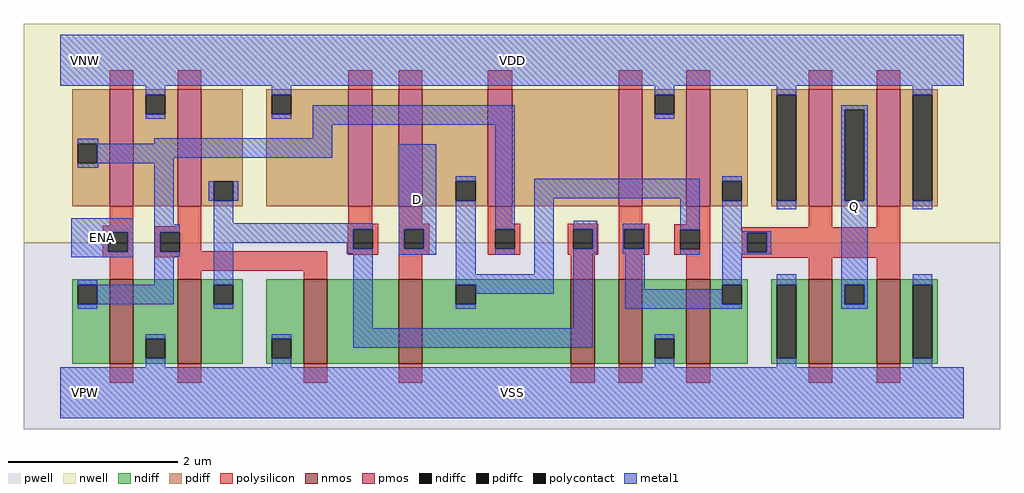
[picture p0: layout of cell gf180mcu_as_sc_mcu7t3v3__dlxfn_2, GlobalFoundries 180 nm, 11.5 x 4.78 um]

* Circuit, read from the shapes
.subckt gf180mcu_as_sc_mcu7t3v3__dlxfn_2 VDD VNW VPW VSS ENA D Q
XM1 VSS ENA n1 VPW nfet_03v3 w=1u l=0.28u
XM2 n2 n1 VSS VPW nfet_03v3 w=1u l=0.28u
XM3 n3 n1 VSS VPW nfet_03v3 w=1u l=0.28u
XM4 n4 D n3 VPW nfet_03v3 w=1u l=0.28u
XM5 n5 n2 n4 VPW nfet_03v3 w=1u l=0.28u
XM6 VSS n6 n5 VPW nfet_03v3 w=1u l=0.28u
XM7 n6 n4 VSS VPW nfet_03v3 w=1u l=0.28u
XM8 Q n6 VSS VPW nfet_03v3 w=1u l=0.28u m=2
XM9 VDD ENA n1 VNW pfet_03v3 w=1.38u l=0.28u
XM10 n2 n1 VDD VNW pfet_03v3 w=1.38u l=0.28u
XM11 n7 n2 VDD VNW pfet_03v3 w=1.38u l=0.285u
XM12 n4 D n7 VNW pfet_03v3 w=1.38u l=0.28u
XM13 n8 n1 n4 VNW pfet_03v3 w=1.38u l=0.285u
XM14 VDD n6 n8 VNW pfet_03v3 w=1.38u l=0.28u
XM15 n6 n4 VDD VNW pfet_03v3 w=1.38u l=0.28u
XM16 Q n6 VDD VNW pfet_03v3 w=1.38u l=0.28u m=2
.ends

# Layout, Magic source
magic
tech gf180mcuD
magscale 1 10
<< nwell >>
rect -86 354 2214 870
<< pwell >>
rect -86 -86 2214 354
<< nmos >>
rect 116 68 172 268
rect 276 68 332 268
rect 573 68 629 268
rect 797 68 853 268
rect 1203 68 1259 268
rect 1315 68 1371 268
rect 1475 68 1531 268
rect 1763 68 1819 268
rect 1923 68 1979 268
<< pmos >>
rect 116 440 172 716
rect 276 440 332 716
rect 678 440 735 716
rect 797 440 853 716
rect 1007 440 1064 716
rect 1315 440 1371 716
rect 1475 440 1531 716
rect 1763 440 1819 716
rect 1923 440 1979 716
<< ndiff >>
rect 28 255 116 268
rect 28 209 41 255
rect 87 209 116 255
rect 28 68 116 209
rect 172 127 276 268
rect 172 81 201 127
rect 247 81 276 127
rect 172 68 276 81
rect 332 255 429 268
rect 332 209 361 255
rect 407 209 429 255
rect 332 68 429 209
rect 485 127 573 268
rect 485 81 498 127
rect 544 81 573 127
rect 485 68 573 81
rect 629 68 797 268
rect 853 255 1203 268
rect 853 209 932 255
rect 978 209 1203 255
rect 853 68 1203 209
rect 1259 68 1315 268
rect 1371 127 1475 268
rect 1371 81 1400 127
rect 1446 81 1475 127
rect 1371 68 1475 81
rect 1531 255 1619 268
rect 1531 209 1560 255
rect 1606 209 1619 255
rect 1531 68 1619 209
rect 1675 255 1763 268
rect 1675 81 1688 255
rect 1734 81 1763 255
rect 1675 68 1763 81
rect 1819 255 1923 268
rect 1819 209 1848 255
rect 1894 209 1923 255
rect 1819 68 1923 209
rect 1979 255 2067 268
rect 1979 81 2008 255
rect 2054 81 2067 255
rect 1979 68 2067 81
<< pdiff >>
rect 28 587 116 716
rect 28 541 41 587
rect 87 541 116 587
rect 28 440 116 541
rect 172 703 276 716
rect 172 657 201 703
rect 247 657 276 703
rect 172 440 276 657
rect 332 499 429 716
rect 332 453 361 499
rect 407 453 429 499
rect 332 440 429 453
rect 485 703 678 716
rect 485 657 498 703
rect 544 657 678 703
rect 485 440 678 657
rect 735 440 797 716
rect 853 499 1007 716
rect 853 453 932 499
rect 978 453 1007 499
rect 853 440 1007 453
rect 1064 440 1315 716
rect 1371 703 1475 716
rect 1371 657 1400 703
rect 1446 657 1475 703
rect 1371 440 1475 657
rect 1531 499 1619 716
rect 1531 453 1560 499
rect 1606 453 1619 499
rect 1531 440 1619 453
rect 1675 703 1763 716
rect 1675 453 1688 703
rect 1734 453 1763 703
rect 1675 440 1763 453
rect 1819 667 1923 716
rect 1819 453 1848 667
rect 1894 453 1923 667
rect 1819 440 1923 453
rect 1979 703 2067 716
rect 1979 453 2008 703
rect 2054 453 2067 703
rect 1979 440 2067 453
<< ndiffc >>
rect 41 209 87 255
rect 201 81 247 127
rect 361 209 407 255
rect 498 81 544 127
rect 932 209 978 255
rect 1400 81 1446 127
rect 1560 209 1606 255
rect 1688 81 1734 255
rect 1848 209 1894 255
rect 2008 81 2054 255
<< pdiffc >>
rect 41 541 87 587
rect 201 657 247 703
rect 361 453 407 499
rect 498 657 544 703
rect 932 453 978 499
rect 1400 657 1446 703
rect 1560 453 1606 499
rect 1688 453 1734 703
rect 1848 453 1894 667
rect 2008 453 2054 703
<< polysilicon >>
rect 116 716 172 760
rect 276 716 332 760
rect 678 716 735 760
rect 797 716 853 760
rect 1007 716 1064 760
rect 1315 716 1371 760
rect 1475 716 1531 760
rect 1763 716 1819 760
rect 1923 716 1979 760
rect 116 394 172 440
rect 100 379 172 394
rect 276 393 332 440
rect 678 398 735 440
rect 797 398 853 440
rect 1007 398 1064 440
rect 1315 398 1371 440
rect 100 333 113 379
rect 159 333 172 379
rect 100 320 172 333
rect 116 268 172 320
rect 222 378 332 393
rect 222 332 235 378
rect 281 334 332 378
rect 677 385 749 398
rect 677 339 690 385
rect 736 339 749 385
rect 281 332 629 334
rect 222 319 629 332
rect 677 326 749 339
rect 797 385 869 398
rect 797 339 810 385
rect 856 339 869 385
rect 797 326 869 339
rect 1007 385 1083 398
rect 1007 339 1024 385
rect 1070 339 1083 385
rect 1007 326 1083 339
rect 1195 385 1267 398
rect 1195 339 1208 385
rect 1254 339 1267 385
rect 1195 326 1267 339
rect 1315 385 1387 398
rect 1475 397 1531 440
rect 1315 339 1328 385
rect 1374 339 1387 385
rect 1315 326 1387 339
rect 1446 384 1531 397
rect 1763 390 1819 440
rect 1923 390 1979 440
rect 1446 338 1460 384
rect 1506 338 1531 384
rect 276 288 629 319
rect 276 268 332 288
rect 573 268 629 288
rect 797 268 853 326
rect 1203 268 1259 326
rect 1315 268 1371 326
rect 1446 325 1531 338
rect 1475 268 1531 325
rect 1605 377 1979 390
rect 1605 331 1618 377
rect 1664 331 1979 377
rect 1605 318 1979 331
rect 1763 268 1819 318
rect 1923 268 1979 318
rect 116 24 172 68
rect 276 24 332 68
rect 573 24 629 68
rect 797 24 853 68
rect 1203 24 1259 68
rect 1315 24 1371 68
rect 1475 24 1531 68
rect 1763 24 1819 68
rect 1923 24 1979 68
<< polycontact >>
rect 113 333 159 379
rect 235 332 281 378
rect 690 339 736 385
rect 810 339 856 385
rect 1024 339 1070 385
rect 1208 339 1254 385
rect 1328 339 1374 385
rect 1460 338 1506 384
rect 1618 331 1664 377
<< metal1 >>
rect 0 724 2128 844
rect 201 703 247 724
rect 201 646 247 657
rect 498 703 544 724
rect 1400 703 1446 724
rect 498 646 544 657
rect 594 632 1070 678
rect 1400 646 1446 657
rect 1688 703 1734 724
rect 594 600 640 632
rect 41 587 89 599
rect 221 587 640 600
rect 87 554 640 587
rect 87 541 267 554
rect 41 530 89 541
rect 25 379 172 412
rect 25 333 113 379
rect 159 333 172 379
rect 25 320 172 333
rect 221 397 267 541
rect 349 453 361 499
rect 407 453 419 499
rect 361 400 407 453
rect 221 378 281 397
rect 221 332 235 378
rect 221 321 281 332
rect 361 385 736 400
rect 361 354 690 385
rect 41 255 87 266
rect 221 255 267 321
rect 87 209 267 255
rect 361 255 407 354
rect 675 339 690 354
rect 675 328 736 339
rect 41 198 87 209
rect 361 198 407 209
rect 690 152 736 328
rect 797 385 886 586
rect 797 339 810 385
rect 856 339 886 385
rect 797 326 886 339
rect 932 499 978 510
rect 932 280 978 453
rect 1024 385 1070 632
rect 1024 326 1070 339
rect 1116 459 1506 505
rect 1116 280 1162 459
rect 1209 398 1265 405
rect 932 255 1162 280
rect 978 234 1162 255
rect 1208 385 1265 398
rect 1254 339 1265 385
rect 1208 329 1265 339
rect 1325 385 1377 398
rect 1325 339 1328 385
rect 1374 339 1377 385
rect 932 198 978 209
rect 1208 152 1254 329
rect 1325 328 1377 339
rect 1331 244 1377 328
rect 1460 384 1506 459
rect 1460 325 1506 338
rect 1560 499 1606 510
rect 1560 381 1606 453
rect 2008 703 2054 724
rect 1688 433 1734 453
rect 1840 667 1902 678
rect 1840 453 1848 667
rect 1894 453 1902 667
rect 1560 377 1675 381
rect 1560 331 1618 377
rect 1664 331 1675 377
rect 1560 327 1675 331
rect 1560 255 1606 327
rect 1331 209 1560 244
rect 1331 198 1606 209
rect 1688 255 1734 279
rect 201 127 247 138
rect 201 60 247 81
rect 498 127 544 138
rect 690 106 1254 152
rect 1400 127 1446 138
rect 498 60 544 81
rect 1400 60 1446 81
rect 1840 255 1902 453
rect 2008 433 2054 453
rect 1840 209 1848 255
rect 1894 209 1902 255
rect 1840 198 1902 209
rect 2008 255 2054 279
rect 1688 60 1734 81
rect 2008 60 2054 81
rect 0 -60 2128 60
<< labels >>
flabel metal1 s 0 724 2128 844 0 FreeSans 400 0 0 0 VDD
port 1 nsew power bidirectional abutment
flabel metal1 s 0 -60 2128 60 0 FreeSans 400 0 0 0 VSS
port 4 nsew ground bidirectional abutment
flabel nwell s 10 734 110 834 0 FreeSans 400 0 0 0 VNW
port 2 nsew power bidirectional
flabel pwell s 10 -50 110 50 0 FreeSans 400 0 0 0 VPW
port 3 nsew ground bidirectional
flabel metal1 25 320 172 412 0 FreeSans 200 0 0 0 ENA
port 5 nsew clock input
flabel metal1 797 326 886 586 0 FreeSans 200 0 0 0 D
port 6 nsew signal input
flabel metal1 1840 198 1902 678 0 FreeSans 200 0 0 0 Q
port 7 nsew signal output
<< properties >>
string FIXED_BBOX 0 0 2128 784
string LEFclass CORE
string LEFsite unithd
string LEFsymmetry X Y
string MASKHINTS_NPLUS -16 -46 2144 354
string MASKHINTS_PPLUS -16 354 2144 830
<< end >>
